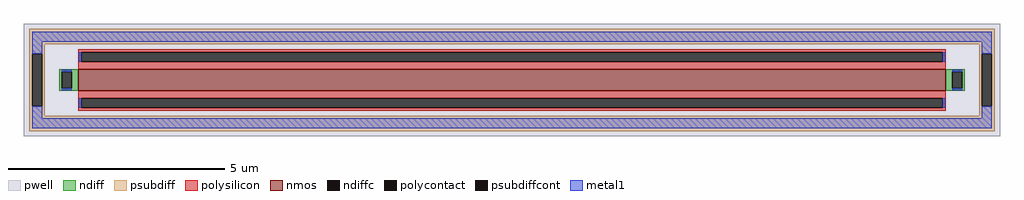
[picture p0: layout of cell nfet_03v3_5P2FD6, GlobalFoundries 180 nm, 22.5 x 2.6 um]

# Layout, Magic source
magic
tech gf180mcuD
magscale 1 10
<< pwell >>
rect -2250 -260 2250 260
<< nmos >>
rect -2000 -50 2000 50
<< ndiff >>
rect -2088 37 -2000 50
rect -2088 -37 -2075 37
rect -2029 -37 -2000 37
rect -2088 -50 -2000 -37
rect 2000 37 2088 50
rect 2000 -37 2029 37
rect 2075 -37 2088 37
rect 2000 -50 2088 -37
<< ndiffc >>
rect -2075 -37 -2029 37
rect 2029 -37 2075 37
<< psubdiff >>
rect -2226 164 2226 236
rect -2226 120 -2154 164
rect -2226 -120 -2213 120
rect -2167 -120 -2154 120
rect 2154 120 2226 164
rect -2226 -164 -2154 -120
rect 2154 -120 2167 120
rect 2213 -120 2226 120
rect 2154 -164 2226 -120
rect -2226 -236 2226 -164
<< psubdiffcont >>
rect -2213 -120 -2167 120
rect 2167 -120 2213 120
<< polysilicon >>
rect -2000 129 2000 142
rect -2000 83 -1987 129
rect 1987 83 2000 129
rect -2000 50 2000 83
rect -2000 -83 2000 -50
rect -2000 -129 -1987 -83
rect 1987 -129 2000 -83
rect -2000 -142 2000 -129
<< polycontact >>
rect -1987 83 1987 129
rect -1987 -129 1987 -83
<< metal1 >>
rect -2213 177 2213 223
rect -2213 120 -2167 177
rect -1998 83 -1987 129
rect 1987 83 1998 129
rect 2167 120 2213 177
rect -2075 37 -2029 48
rect -2075 -48 -2029 -37
rect 2029 37 2075 48
rect 2029 -48 2075 -37
rect -2213 -177 -2167 -120
rect -1998 -129 -1987 -83
rect 1987 -129 1998 -83
rect 2167 -177 2213 -120
rect -2213 -223 2213 -177
<< properties >>
string FIXED_BBOX -2190 -200 2190 200
string gencell nfet_03v3
string library gf180mcu
string parameters w 0.5 l 20 m 1 nf 1 diffcov 100 polycov 100 guard 1 glc 1 grc 1 gtc 0 gbc 0 tbcov 100 rlcov 100 topc 1 botc 1 poverlap 0 doverlap 1 lmin 0.28 wmin 0.22 class mosfet full_metal 1 compatible {nfet_03v3 nfet_05v0 nfet_06v0 nfet_06v0_nvt}
<< end >>
